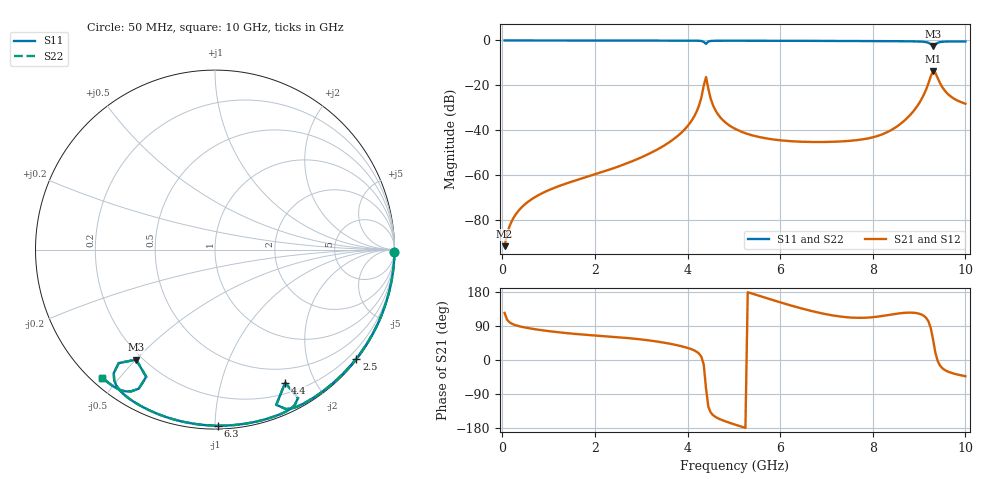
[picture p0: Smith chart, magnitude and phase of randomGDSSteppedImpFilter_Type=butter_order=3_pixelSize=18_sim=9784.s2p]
! freq	dB(S11)	phase(S11)	dB(S12)	phase(S12)
!  dB(S21)	phase(S21)	dB(S22)	phase(S22)
!S-par simulation data
#  GHz  S  DB  R 50
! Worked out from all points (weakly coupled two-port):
!   200 points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, 50 MHz to 10 GHz, reference 50 ohm
!   highest |S21| = -13.75 dB at 9.3 GHz (marker M1); lowest = -91.7 dB at 50 MHz (marker M2)
!   lowest |S11| = -2.4 dB at 9.3 GHz (marker M3), VSWR 7.15, Z = 8.79 - j25.1 ohm
!   |S11| at or under -10 dB: nowhere
!   |S22| runs from -2.5 to 0.0 dB; largest |S21 - S12| = 0
!   S11 on the Smith chart (normalised r, x): 50 MHz: open; 2.5 GHz: 0.03, -2.93; 4.4 GHz: 0.32, -1.61; 6.3 GHz: 0.02, -1.02; 10 GHz: 0.03, -0.45
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0.05  -0.00 -0.8  -91.67 124.2  -91.67 124.2  -0.00 -0.8
0.2  -0.00 -3.1  -80.70 96.1  -80.70 96.1  -0.00 -3.1
0.8  -0.01 -12.2  -68.71 79.5  -68.71 79.5  -0.01 -12.2
1.75  -0.03 -26.5  -61.28 67.0  -61.28 67.0  -0.03 -26.5
2.5  -0.05 -37.6  -56.23 60.1  -56.23 60.1  -0.05 -37.6
3.4  -0.07 -50.7  -48.00 47.6  -48.00 47.6  -0.07 -50.7
4.1  -0.10 -61.2  -35.37 27.7  -35.37 27.7  -0.10 -61.2
4.25  -0.16 -64.4  -28.87 16.6  -28.87 16.6  -0.16 -64.4
4.4  -1.53 -62.2  -16.30 -76.0  -16.30 -76.0  -1.53 -62.2
4.5  -0.23 -62.9  -25.93 -138.4  -25.93 -138.4  -0.23 -62.9
4.6  -0.14 -65.4  -31.03 -150.0  -31.03 -150.0  -0.14 -65.4
5.05  -0.12 -72.5  -39.59 -171.4  -39.59 -171.4  -0.12 -72.5
6.3  -0.16 -89.0  -44.98 141.5  -44.98 141.5  -0.16 -89.0
6.7  -0.19 -94.0  -45.25 128.6  -45.25 128.6  -0.19 -94.0
7.7  -0.25 -106.4  -44.31 111.3  -44.31 111.3  -0.25 -106.4
8.35  -0.31 -114.5  -40.46 119.0  -40.46 119.0  -0.31 -114.5
8.95  -0.44 -123.1  -29.56 123.6  -29.56 123.6  -0.44 -123.1
9.2  -1.02 -129.4  -19.20 102.4  -19.20 102.4  -1.02 -129.4
9.3  -2.44 -125.6  -13.75 55.3  -13.75 55.3  -2.46 -125.6
9.4  -1.08 -118.7  -16.66 -2.1  -16.66 -2.1  -1.08 -118.7
9.6  -0.48 -124.9  -23.41 -29.4  -23.41 -29.4  -0.48 -124.9
10  -0.45 -131.4  -28.17 -42.8  -28.17 -42.8  -0.45 -131.3
